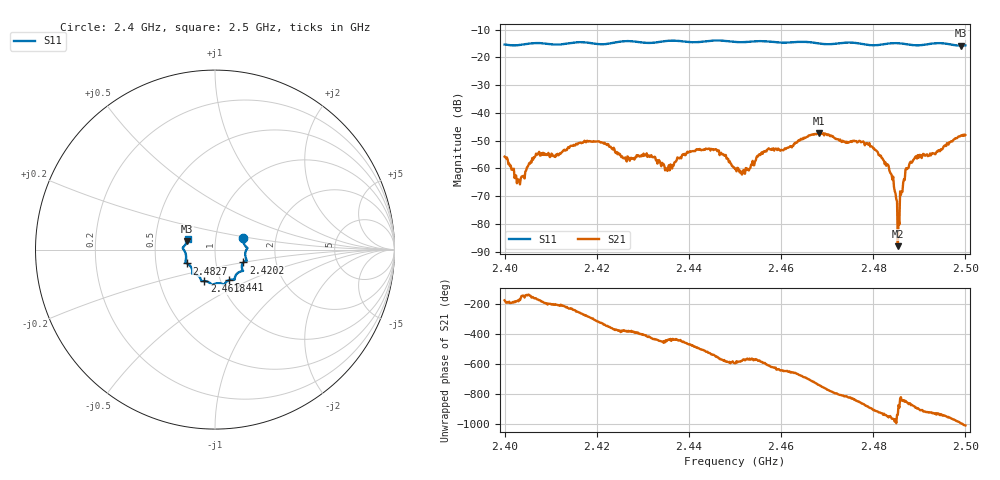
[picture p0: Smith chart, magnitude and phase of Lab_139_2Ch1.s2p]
# Hz S RI R 50
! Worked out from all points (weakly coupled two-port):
!   601 points, 2.4 GHz to 2.5 GHz, reference 50 ohm
!   highest |S21| = -47.19 dB at 2.4682 GHz (marker M1); lowest = -88.0 dB at 2.4853 GHz (marker M2)
!   lowest |S11| = -15.8 dB at 2.499 GHz (marker M3), VSWR 1.39, Z = 36.4 + j3.47 ohm
!   |S11| at or under -10 dB: start of sweep to end of sweep
!   S12 and S22 are empty: the file has one direction only
!   S11 on the Smith chart (normalised r, x): 2.4 GHz: 1.36, +0.18; 2.4202 GHz: 1.36, -0.20; 2.441 GHz: 1.10, -0.39; 2.4618 GHz: 0.84, -0.30; 2.4827 GHz: 0.72, -0.12; 2.5 GHz: 0.73, +0.09
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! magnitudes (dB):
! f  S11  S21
! 2.4 GHz  -15.4  -55.8
! 2.4032 GHz  -15.6  -64.5
! 2.407 GHz  -14.9  -55.1
! 2.4167 GHz  -14.5  -50.9
! 2.4202 GHz  -15.2  -50.3
! 2.426 GHz  -14.2  -56.3
! 2.4333 GHz  -14.5  -57.2
! 2.4353 GHz  -14.1  -60.9
! 2.441 GHz  -14.6  -53.8
! 2.446 GHz  -13.9  -53.3
! 2.45 GHz  -14.5  -60.2
! 2.4618 GHz  -14.6  -52.3
! 2.4667 GHz  -14.6  -47.8
! 2.4682 GHz  -15.0  -47.2
! 2.4788 GHz  -15.5  -51.4
! 2.4827 GHz  -15.2  -57.9
! 2.4833 GHz  -15.0  -59.0
! 2.4853 GHz  -14.9  -88.0
! 2.487 GHz  -15.2  -60.5
! 2.4885 GHz  -15.6  -57.6
! 2.499 GHz  -15.8  -48.2
! 2.5 GHz  -15.7  -48.0
